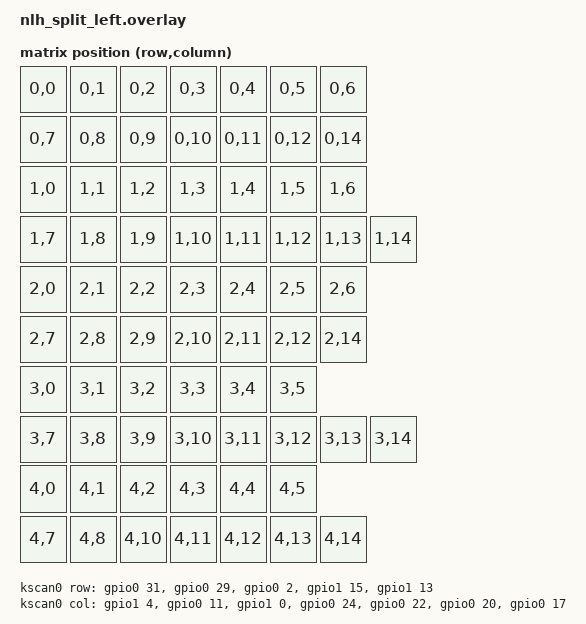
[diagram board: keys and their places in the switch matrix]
#include <dt-bindings/zmk/matrix_transform.h>

/*
 * NLH Split - Left Half
 *
 * Matrix: 5 rows x 7 cols = 33 keys
 *
 * Left MCU (U1) pin mapping (verified from KiCad schematic):
 *   COL0 = P1.04  COL1 = P0.11  COL2 = P1.00
 *   COL3 = P0.24  COL4 = P0.22  COL5 = P0.20  COL6 = P0.17
 *   ROW0 = P0.31  ROW1 = P0.29  ROW2 = P0.02
 *   ROW3 = P1.15  ROW4 = P1.13
 *
 * Full keyboard matrix transform (5 rows x 15 cols):
 *   Cols 0-6  = left half local cols 0-6
 *   Cols 7-14 = right half local cols 0-7
 *
 * Right side gaps (matrix positions not populated):
 *   ROW0: missing RC(0,13) = R_COL6
 *   ROW2: missing RC(2,13) = R_COL6
 *   ROW4: missing RC(4,9)  = R_COL2
 *   Left ROW3,ROW4: missing RC(3,6) and RC(4,6) = L_COL6
 */

/ {
    chosen {
        zmk,kscan = &kscan0;
        zmk,matrix_transform = &default_transform;
    };

    default_transform: keymap_transform_0 {
        compatible = "zmk,matrix-transform";
        columns = <15>;
        rows = <5>;
        map = <
/* Row 0: 7L + 7R = 14 keys  (right missing R_COL6 = global col 13) */
RC(0,0)  RC(0,1)  RC(0,2)  RC(0,3)  RC(0,4)  RC(0,5)  RC(0,6)
RC(0,7)  RC(0,8)  RC(0,9)  RC(0,10) RC(0,11) RC(0,12) RC(0,14)

/* Row 1: 7L + 8R = 15 keys */
RC(1,0)  RC(1,1)  RC(1,2)  RC(1,3)  RC(1,4)  RC(1,5)  RC(1,6)
RC(1,7)  RC(1,8)  RC(1,9)  RC(1,10) RC(1,11) RC(1,12) RC(1,13) RC(1,14)

/* Row 2: 7L + 7R = 14 keys  (right missing R_COL6 = global col 13) */
RC(2,0)  RC(2,1)  RC(2,2)  RC(2,3)  RC(2,4)  RC(2,5)  RC(2,6)
RC(2,7)  RC(2,8)  RC(2,9)  RC(2,10) RC(2,11) RC(2,12) RC(2,14)

/* Row 3: 6L + 8R = 14 keys  (left missing L_COL6 = global col 6) */
RC(3,0)  RC(3,1)  RC(3,2)  RC(3,3)  RC(3,4)  RC(3,5)
RC(3,7)  RC(3,8)  RC(3,9)  RC(3,10) RC(3,11) RC(3,12) RC(3,13) RC(3,14)

/* Row 4: 6L + 7R = 13 keys  (left missing L_COL6, right missing R_COL2 = global col 9) */
RC(4,0)  RC(4,1)  RC(4,2)  RC(4,3)  RC(4,4)  RC(4,5)
RC(4,7)  RC(4,8)  RC(4,10) RC(4,11) RC(4,12) RC(4,13) RC(4,14)
        >;
    };

    kscan0: kscan {
        compatible = "zmk,kscan-gpio-matrix";
        diode-direction = "col2row";

        col-gpios
            = <&gpio1 4  GPIO_ACTIVE_HIGH>  /* L_COL0 = P1.04 */
            , <&gpio0 11 GPIO_ACTIVE_HIGH>  /* L_COL1 = P0.11 */
            , <&gpio1 0  GPIO_ACTIVE_HIGH>  /* L_COL2 = P1.00 */
            , <&gpio0 24 GPIO_ACTIVE_HIGH>  /* L_COL3 = P0.24 */
            , <&gpio0 22 GPIO_ACTIVE_HIGH>  /* L_COL4 = P0.22 */
            , <&gpio0 20 GPIO_ACTIVE_HIGH>  /* L_COL5 = P0.20 */
            , <&gpio0 17 GPIO_ACTIVE_HIGH>  /* L_COL6 = P0.17 */
            ;

        row-gpios
            = <&gpio0 31 (GPIO_ACTIVE_HIGH | GPIO_PULL_DOWN)>  /* L_ROW0 = P0.31 */
            , <&gpio0 29 (GPIO_ACTIVE_HIGH | GPIO_PULL_DOWN)>  /* L_ROW1 = P0.29 */
            , <&gpio0 2  (GPIO_ACTIVE_HIGH | GPIO_PULL_DOWN)>  /* L_ROW2 = P0.02 */
            , <&gpio1 15 (GPIO_ACTIVE_HIGH | GPIO_PULL_DOWN)>  /* L_ROW3 = P1.15 */
            , <&gpio1 13 (GPIO_ACTIVE_HIGH | GPIO_PULL_DOWN)>  /* L_ROW4 = P1.13 */
            ;
    };
};
